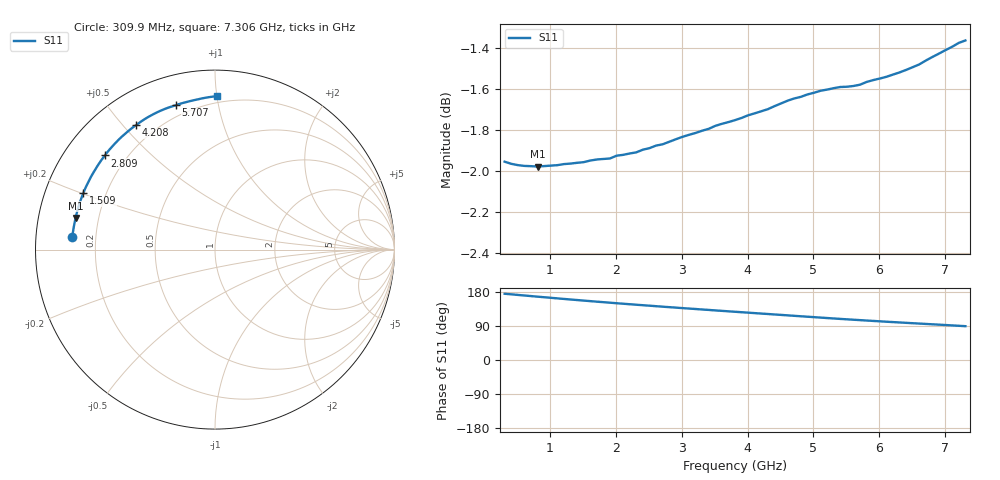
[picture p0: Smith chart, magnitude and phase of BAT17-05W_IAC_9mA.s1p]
! Infineon Technologies  Discrete & RF Semiconductors
! BAT17-05W
! IAC = 9 mA
! One-Port S-Parameters
# Hz  S  MA  R  50
!f  S11
!Hz  Mag  Ang
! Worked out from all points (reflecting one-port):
!   71 points, 309.9 MHz to 7.306 GHz, reference 50 ohm
!   lowest |S11| = -2.0 dB at 809.6 MHz (marker M1), VSWR 8.82, Z = 5.74 + j5.55 ohm
!   phase of S11 starts at 175 deg and turns -86 deg over the sweep
!   S11 on the Smith chart (normalised r, x): 309.9 MHz: 0.11, +0.04; 1.509 GHz: 0.12, +0.20; 2.809 GHz: 0.12, +0.36; 4.208 GHz: 0.13, +0.54; 5.707 GHz: 0.14, +0.75; 7.306 GHz: 0.16, +1.00
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3.0985e8  0.7985 174.8
6.097e8  0.7966 170.2
8.096e8  0.7963 167.2
1.0095e9  0.7967 164.1
1.2094e9  0.7974 161.2
1.50925e9  0.7983 156.8
1.8091e9  0.7997 152.6
2.10895e9  0.8015 148.5
2.4088e9  0.8038 144.6
2.6087e9  0.8057 142.0
2.8086e9  0.8074 139.5
3.0085e9  0.8096 137.0
3.2084e9  0.8114 134.6
3.50825e9  0.8146 130.9
3.8081e9  0.8173 127.3
4.2079e9  0.8213 122.5
4.50775e9  0.8249 119.0
4.70765e9  0.8272 116.6
4.90755e9  0.8291 114.2
5.2074e9  0.8314 110.7
5.4073e9  0.8326 108.4
5.6072e9  0.833 106.2
5.70715e9  0.8336 105.2
6.007e9  0.8365 102.1
6.50675e9  0.8418 97.1
6.90655e9  0.8483 93.2
7.2064e9  0.8534 90.3
7.30635e9  0.8545 89.2
